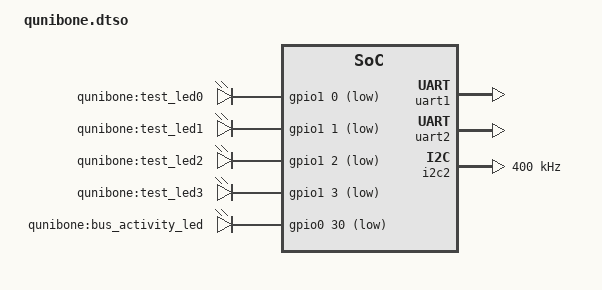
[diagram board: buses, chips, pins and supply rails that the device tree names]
// Linux Device Tree Overlay for QUniBoot
// 

/dts-v1/;
/plugin/;

#include <dt-bindings/gpio/gpio.h>
#include <dt-bindings/input/input.h>

/ {
   compatible = "ti,beaglebone", "ti,beaglebone-black";

   part-number = "QUniBone";

   exclusive-use =

         // SW[0..3] input on regular GPIO
         "P8.23", "P8.22", "P8.3", "P8.4",

         // BUTTON input on regular GPIO
         "P8.12",

         // LED[0..3] output on regular GPIO
         "P8.25", "P8.24", "P8.5", "P8.6",

         // Driver & Register output enable output on regular GPIO
         "P8.11", "P8.16",

         // PRU0 REG_DATOUT[0..7] outputs
         "P9.31", "P9.29", "P9.30", "P9.28", "P9.27", "P9.25",

         // PRU1 REG_DATIN[0..7] inputs
         "P8.45", "P8.46", "P8.43", "P8.44", "P8.41", "P8.42", "P8.39", "P8.40",

         // PRU1 REG_ADR[0..2], REG_WRITE outputs
         "P8.27", "P8.29", "P8.28", "P8.30",

         // PRU1 Debugging output r30 pin 12  // ,13
         "P8.21",

         // Assert constant level on eMMC CMD input
         "P8.20",

         "P9.26", // Pin UART1 RXD
         "P9.24", // Pin UART1 TXD
         "P9.22", // Pin UART2 RXD
         "P9.21", // Pin UART2 TXD

         "P9.11",  // GPIO0_30: QBone activity LED
         "P9.12",  // GPIO1_28: I2C panel reset

         "P8.9",    // GPIO2_5: Timer5 output

         // ip used
         "pru0", "pru1",
         "uart1", "uart2"  // UARTs necessary here?
         ;

   // Configure the pinmux
   //
   // NOTE: Some of these pin configurations conflict with pins that are used to
   // talk to the on-board eMMC. Specifically:
   //
   //    GPIO1_0  - P8.25 - MMC1_DAT0 - LED0
   //    GPIO1_30 - P8.21 - MMC1_CLK  - PRU1_12 (DEBUG PIN 0)
   //    GPIO1_31 - P8.20 - MMC1_CMD  - PRU1_13 (DEBUG PIN 1)
   //
   // Ideally, to properly avoid any possibility of conflict, the eMMC chip itself
   // should be placed into inactive mode, by sending it a MMC_GO_INACTIVE_STATE/CMD15
   // command. This would need to be handled by code that runs before the pinmux is
   // configured; it cannot be accomplished solely within the DTS itself. Currently,
   // no such code exists.
   //
   // However, as long as GPIO1_31/MMC1_CMD remains low, any activity on the other
   // pins will not trigger bad behavior in the eMMC. Conventiently, the code in
   // the QUniBone PRU that uses GPIO1_31 is not enabled by default.
   //
   // In any case, the linux driver for the eMMC must be disabled (see below) to
   // avoid conflict with the pin assignments here, thus rendering the eMMC inaccessible
   // from linux.
   //
   fragment@0 {
      target = <&am33xx_pinmux>;
      __overlay__ {

         // Bind the pinctrl state for the general (non-PRU) GPIO pins to
         // the pinmux node itself.  This has the effect of forcing the pins
         // to be configured during boot, even though they are not referenced
         // by any other device.
         pinctrl-names = "default";
         pinctrl-0 = <&gpio_pins>;

         // General (non-PRU) GPIO pins
         gpio_pins: pinmux_gpio_pins {
            pinctrl-single,pins = <

               0x010 0x2f // SW0 input on P8.23: gpio1_4, rx, no pull up/dn, mode=7
               0x014 0x2f // SW1 input on P8.22: gpio1_5, rx, no pull up/dn, mode=7
               0x018 0x2f // SW2 input on P8.3: gpio1_6, rx, no pull up/dn, mode=7
               0x01c 0x2f // SW3 input on P8.4: gpio1_7, rx, no pull up/dn, mode=7
               0x030 0x2f // BUTTON input on P8.12: gpio1_12, rx, no pull up/dn, mode=7

               0x000 0x07 // LED0 output on P8.25: gpio1_0, pulldown, mode=7
               0x004 0x07 // LED1 output on P8.24: gpio1_1, pulldown, mode=7
               0x008 0x07 // LED2 output on P8.05: gpio1_2, pulldown, mode=7
               0x00c 0x07 // LED3 output on P8.06: gpio1_3, pulldown, mode=7
               0x038 0x17 // REG_ENABLE output on P8.16: gpio1_14, pullup, mode=7
               0x034 0x17 // BUS_ENABLE output on P8.11: gpio1_13, pullup, mode=7

               0x180 0x30 // UART1 RXD on P9.26, receiver, pullup, mode=0=UART1
               0x184 0x10 // UART1 TXD on P9.24, xmitter, pullup, mode=0=UART1
               0x150 0x31 // UART2 RXD on P9.22, receiver, pullup, mode=1=UART2
               0x154 0x11 // UART2 TXD on P9.21, xmitter, pullup, mode=1=UART2

               0x070 0x07 // Activity LED on P9.11 (later PCBs only): gpio0_30, pulldown, mode=7

               0x078 0x17 // I2C panel reset on P9.12: gpio1_28, pullup, mode=7

               0x09c 0x02 // 50/60Hz generation, Timer5 output on P8.09, pulldown, mode=2
            >;
         };

         // PRU GPIO pins
         pru_pru_pins: pinmux_pru_pru_pins {
            pinctrl-single,pins = <
               0x190 0x15 // PRU0 REG_DATOUT_0 on P9.31: pr1_pru0_pru_r30_0, fast, pullup, mode=5
               0x194 0x15 // PRU0 REG_DATOUT_1 on P9.29: pr1_pru0_pru_r30_1, fast, pullup, mode=5
               0x198 0x15 // PRU0 REG_DATOUT_2 on P9.30: pr1_pru0_pru_r30_2, fast, pullup, mode=5
               0x19c 0x15 // PRU0 REG_DATOUT_3 on P9.28: pr1_pru0_pru_r30_3, fast, pullup, mode=5
               0x1a0 0x15 // PRU0 REG_DATOUT_4 on P9.42: pr1_pru0_pru_r30_4, fast, pullup, mode=5
               0x1a4 0x15 // PRU0 REG_DATOUT_5 on P9.27: pr1_pru0_pru_r30_5, fast, pullup, mode=5
               0x1a8 0x15 // PRU0 REG_DATOUT_6 on P9.41: pr1_pru0_pru_r30_6, fast, pullup, mode=5
               0x1ac 0x15 // PRU0 REG_DATOUT_7 on P9.25: pr1_pru0_pru_r30_7, fast, pullup, mode=5
               0x164 0x2f // P9.42 REG_DATOUT_4 tied to GPIO0_7: GPIO tristate! input, no pull up/dn, mode=7
               0x1b4 0x2f // P9.41 REG_DATOUT_6 tied to GPIO0_20: GPIO tristate! input, no pull up/dn, mode=7

               0x0a0 0x2e // PRU1 REG_DATIN_0 on P8.45: pr1_pru1_pru_r31_0, fast, rx, no pulldown, mode=6
               0x0a4 0x2e // PRU1 REG_DATIN_1 on P8.46: pr1_pru1_pru_r31_1, fast, rx, no pulldown, mode=6
               0x0a8 0x2e // PRU1 REG_DATIN_2 on P8.43: pr1_pru1_pru_r31_2, fast, rx, no pulldown, mode=6
               0x0ac 0x2e // PRU1 REG_DATIN_3 on P8.44: pr1_pru1_pru_r31_3, fast, rx, no pulldown, mode=6
               0x0b0 0x2e // PRU1 REG_DATIN_4 on P8.41: pr1_pru1_pru_r31_4, fast, rx, no pulldown, mode=6
               0x0b4 0x2e // PRU1 REG_DATIN_5 on P8.42: pr1_pru1_pru_r31_5, fast, rx, no pulldown, mode=6
               0x0b8 0x2e // PRU1 REG_DATIN_6 on P8.39: pr1_pru1_pru_r31_6, fast, rx, no pulldown, mode=6
               0x0bc 0x2e // PRU1 REG_DATIN_7 on P8.40: pr1_pru1_pru_r31_7, fast, rx, no pulldown, mode=6
               0x0e0 0x05 // PRU1 REG_ADR_0 on P8.27: pr1_pru1_pru_r30_8, fast, output, pulldown, mode=5
               0x0e4 0x05 // PRU1 REG_ADR_1 on P8.29: pr1_pru1_pru_r30_9, fast, output, pulldown, mode=5
               0x0e8 0x05 // PRU1 REG_ADR_2 on P8.28: pr1_pru1_pru_r30_10, fast, output, pulldown, mode=5
               0x0ec 0x15 // PRU1 REG_WRITE on P8.30: pr1_pru1_pru_r30_11, fast, output, pullup, mode=5
               0x080 0x05 // PRU1 PRU1_12 (DEBUG PIN 0) on P8.21: pr1_pru1_pru_r30_12, fast, output, pulldown, mode=5
               0x084 0x05 // PRU1 PRU1_13 (DEBUG PIN 1) on P8.20: pr1_pru1_pru_r30_13, fast, output, pulldown, mode=5
            >;
         };
      };
   };

   // Enable UIO PRUSS
   // This binds the UIO PRUSS driver to the existing pruss@0 node and 
   // adds the config properties needed by the driver. It also forces
   // configuration of the PRU GPIO pins via the pinmux.
   fragment@1 {
      target = <&pruss>;
      __overlay__ {
         compatible = "ti,pruss-v2";
         ti,pintc-offset = <0x20000>;
         interrupt-parent = <&intc>;
         interrupts = <20 21 22 23 24 25 26 27>;
         pinctrl-names = "default";
         pinctrl-0 = <&pru_pru_pins>;
      };
   };

   // Enable UART1
   fragment@2 {
      target = <&uart1>;
      __overlay__ {
               status          = "okay";
      };
    };

   // Enable UART2
   fragment@3 {
      target = <&uart2>;
      __overlay__ {
               status          = "okay";
      };
   };

   // Disable McASP to avoid conflict with pins used by QUniBone
   fragment@4 {
      target = <&mcasp0>;
      __overlay__ {
         status = "disabled";
      };
   };

   // Disable the LCD controller to avoid conflict pins used by QUniBone
   fragment@5 {
      target = <&lcdc>;
      __overlay__ {
         status = "disabled";
      };
   };

   // Disable HDMI encoder node
   fragment@6 {
      target = <&tda19988>;
      __overlay__ {
         status = "disabled";
      };
   };

   // Disable the driver for the on-board eMMC
   fragment@7 {
      target = <&mmc2>;
      __overlay__ {
         status = "disabled";
      };
   };

   // Disable scanning for secondary cape EEPROMs
   // This reduces boots time by a small amount.
   fragment@8 {
      target = <&i2c2>;
      __overlay__ {
         clock-frequency = <400000>;

         cape_eeprom1: cape_eeprom1@55 {
            status = "disabled";
         };
         cape_eeprom2: cape_eeprom2@56 {
            status = "disabled";
         };
         cape_eeprom3: cape_eeprom3@57 {
            status = "disabled";
         };
      };
   };

   // Disable sound device
   fragment@9 {
      target-path = "/";
      __overlay__ {
         sound {
            compatible = "disabled";
         };
      };
   };
   
   // Enable access to QUniBone LEDs via gpio-leds driver.
   fragment@10 {
      target-path = "/";
      __overlay__ {
         qunibone_leds {
               compatible = "gpio-leds";

               qunibone_led0 {
                  label = "qunibone:test_led0";
                  gpios = <&gpio1 0 GPIO_ACTIVE_LOW>;
                  default-state = "off";
               };
               qunibone_led1 {
                  label = "qunibone:test_led1";
                  gpios = <&gpio1 1 GPIO_ACTIVE_LOW>;
                  default-state = "off";
               };
               qunibone_led2 {
                  label = "qunibone:test_led2";
                  gpios = <&gpio1 2 GPIO_ACTIVE_LOW>;
                  default-state = "off";
               };
               qunibone_led3 {
                  label = "qunibone:test_led3";
                  gpios = <&gpio1 3 GPIO_ACTIVE_LOW>;
                  default-state = "off";
               };
               qunibone_led4 {
                  label = "qunibone:bus_activity_led";
                  gpios = <&gpio0 30 GPIO_ACTIVE_LOW>;
                  default-state = "off";
               };
         };
      };
   };
};
